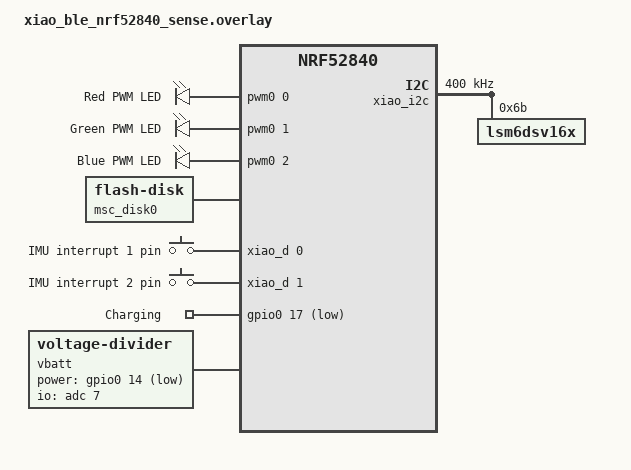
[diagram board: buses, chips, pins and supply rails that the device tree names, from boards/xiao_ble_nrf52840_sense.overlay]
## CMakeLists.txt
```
#-------------------------------------------------------------------------------
# Zephyr Example Application
#
# Copyright (c) 2021 Nordic Semiconductor ASA
# SPDX-License-Identifier: Apache-2.0

set(BOARD nicoco)
list(APPEND EXTRA_CONF_FILE "overlay_usb_mass_storage.conf overlay_smp_bt.conf")

include(secrets.cmake OPTIONAL)
if("${EI_API_KEY_HEADER}" MATCHES "^x-api-key:ei_[0-9a-fA-F]+$") # Cannot specify [0-9a-fA-F]{64} because of CMake regex limitations
    message(VERBOSE "Edge Impulse API key is set")
    list(APPEND EXTRA_CONF_FILE "overlay_edge_impulse.conf")
else()
    message(WARNING "Edge Impulse API key is not set")
endif()

cmake_minimum_required(VERSION 3.13.1)
find_package(Zephyr REQUIRED HINTS $ENV{ZEPHYR_BASE})

project(app LANGUAGES C)

target_include_directories(app PRIVATE src)

add_subdirectory_ifdef(CONFIG_USB_MASS_STORAGE src/usb_mass_storage)
add_subdirectory(src/state_machine)
add_subdirectory(src/emulator)
add_subdirectory(src/battery)
add_subdirectory_ifdef(CONFIG_EDGE_IMPULSE src/edge-impulse)
add_subdirectory(src/ui)

target_sources(app PRIVATE src/main.c)
```

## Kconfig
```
# Copyright (c) 2021 Nordic Semiconductor ASA
# SPDX-License-Identifier: Apache-2.0
#
# This file is the application Kconfig entry point. All application Kconfig
# options can be defined here or included via other application Kconfig files.
# You can browse these options using the west targets menuconfig (terminal) or
# guiconfig (GUI).

menu "Zephyr"
source "Kconfig.zephyr"
endmenu

module = APP
module-str = APP
source "subsys/logging/Kconfig.template.log_config"

config IDLE_STATE_TIMEOUT
	int "Time before SLEEP event in seconds."
	default 60

config CHECK_SESSION_DATA_DURING
	bool "Check that session data is correctly written during recording"
	default y

config CHECK_SESSION_DATA_AFTER
	bool "Check that session data is not corrupted at the end of a session"
	default y
```

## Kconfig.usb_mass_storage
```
config XIAO_BLE_USB_MASS_STORAGE
	bool "Support for Xiao BLE USB Mass Storage library"
	help
	  This option enables the Xiao BLE USB Mass Storage library

if XIAO_BLE_USB_MASS_STORAGE

config USB_DEVICE_STACK
	default y

config USB_DEVICE_PRODUCT
	default "Xiao BLE USB Mass Storage"

config USB_DEVICE_PID
	default 0x0008

config USB_MASS_STORAGE
	default y

config USB_DEVICE_INITIALIZE_AT_BOOT
	default n

config DISK_DRIVER_FLASH
	default y

config FILE_SYSTEM
	default y

config FAT_FILESYSTEM_ELM
	default y

config FLASH_MAP
	default y

config FLASH_PAGE_LAYOUT
	default y

config MASS_STORAGE_DISK_NAME
	default "NAND"

config NORDIC_QSPI_NOR
	default y

config NORDIC_QSPI_NOR_FLASH_LAYOUT_PAGE_SIZE
	default 4096

endif # XIAO_BLE_SHELL
```

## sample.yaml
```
# This file is provided so that the application can be compiled using Twister,
# the Zephyr testing tool. In this file, multiple combinations can be specified,
# so that you can easily test all of them locally or in CI.
sample:
  description: Example application
  name: example-application
common:
  sysbuild: true
  build_only: true
  integration_platforms:
    - nicoco
tests:
  app.default: {}
  app.debug:
    extra_overlay_confs:
      - debug.conf
```

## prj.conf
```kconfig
# Copyright (c) 2021 Nordic Semiconductor ASA
# SPDX-License-Identifier: Apache-2.0
#
# This file contains selected Kconfig options for the application.
CONFIG_NCS_BOOT_BANNER=n
CONFIG_BOOT_BANNER=n

CONFIG_STDOUT_CONSOLE=y

CONFIG_MAIN_STACK_SIZE=4096
CONFIG_SYSTEM_WORKQUEUE_STACK_SIZE=8192

CONFIG_XIAO_BLE_SHELL=y
CONFIG_CBPRINTF_NANO=y
# Other shell variables
CONFIG_FILE_SYSTEM_SHELL=y
CONFIG_HEAP_MEM_POOL_SIZE=2048
CONFIG_SHELL_STACK_SIZE=4096
CONFIG_FLASH_SHELL=y

# LSM6DSV16BX sensor library
CONFIG_LSM6DSV16BX=y
CONFIG_LSM6DSV16BX_FSM_USE_ALG_1=y
CONFIG_LSM6DSV16BX_FSM_ALG_1_CONFIG_FILE_PATH="fsm/lsm6dsv16x_fsm_long_touch.h"
CONFIG_LSM6DSV16BX_FSM_ALG_1_NAME="Long Touch Detection"

CONFIG_XIAO_SMP_BLUETOOTH=y
CONFIG_BT_DEVICE_NAME="Surfing Xiao"

# Config for enabling newlib C
CONFIG_FPU=y
CONFIG_CBPRINTF_COMPLETE=y
CONFIG_CBPRINTF_FP_SUPPORT=y

CONFIG_EVENTS=y
CONFIG_SMF=y

# enable ADC
CONFIG_ADC=y

# Enable PWM LEDs
CONFIG_PWM=y
```

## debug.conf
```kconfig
# Copyright (c) 2021 Nordic Semiconductor ASA
# SPDX-License-Identifier: Apache-2.0
#
# This is a Kconfig fragment which can be used to enable debug-related options
# in the application. See the README for more details.

# compiler
CONFIG_DEBUG_OPTIMIZATIONS=y

# logging
CONFIG_LOG=y
CONFIG_LOG_BUFFER_SIZE=4096
# Enables printk to be printed separately from Logs (for the Edge Impulse data forwarder).
CONFIG_LOG_PRINTK=n

CONFIG_APP_LOG_LEVEL_DBG=y

CONFIG_LSM6DSV16BX_LOG_LEVEL_DBG=y

CONFIG_XIAO_SMP_BLUETOOTH_LOG_LEVEL_DBG=y

CONFIG_USB_DRIVER_LOG_LEVEL_ERR=y
CONFIG_USB_DEVICE_LOG_LEVEL_ERR=y
CONFIG_USB_MASS_STORAGE_LOG_LEVEL_ERR=y
CONFIG_FLASH_LOG_LEVEL_ERR=y
CONFIG_FLASHDISK_LOG_LEVEL_OFF=y

CONFIG_FIT_SDK_LOG_LEVEL_DBG=y
```

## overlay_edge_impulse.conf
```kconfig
# Enable Edge Impulse dependencies
CONFIG_CPP=y
CONFIG_STD_CPP11=y
CONFIG_FP16=n
# Enable Edge Impulse
CONFIG_EDGE_IMPULSE=y
CONFIG_EDGE_IMPULSE_URI="https://studio.edgeimpulse.com/v1/api/545950/deployment/download?type=zip"
CONFIG_EI_WRAPPER=y
```

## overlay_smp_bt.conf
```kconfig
# Enable MCUmgr and dependencies.
CONFIG_NET_BUF=y
CONFIG_ZCBOR=y
CONFIG_CRC=y
CONFIG_MCUMGR=y
CONFIG_STREAM_FLASH=y
CONFIG_FLASH_MAP=y

# Enable MCUmgr groups
CONFIG_MCUMGR_GRP_OS=y
CONFIG_SHELL_BACKEND_DUMMY=y
CONFIG_MCUMGR_GRP_SHELL=y

# Enable Bluetooth
CONFIG_BT=y
CONFIG_BT_PERIPHERAL=y

# Allow for large Bluetooth data packets.
CONFIG_BT_L2CAP_TX_MTU=498
CONFIG_BT_BUF_ACL_RX_SIZE=502
CONFIG_BT_BUF_ACL_TX_SIZE=502
CONFIG_BT_CTLR_DATA_LENGTH_MAX=251

# Enable the Bluetooth mcumgr transport (unauthenticated).
CONFIG_MCUMGR_TRANSPORT_BT=y
CONFIG_MCUMGR_TRANSPORT_BT_PERM_RW=y
CONFIG_MCUMGR_TRANSPORT_BT_CONN_PARAM_CONTROL=y

# Enable the Shell mcumgr transport.
CONFIG_BASE64=y
CONFIG_CRC=y
CONFIG_SHELL=y
CONFIG_SHELL_BACKEND_SERIAL=y
CONFIG_MCUMGR_TRANSPORT_SHELL=y

# Enable the mcumgr Packet Reassembly feature over Bluetooth and its configuration dependencies.
# MCUmgr buffer size is optimized to fit one SMP packet divided into five Bluetooth Write Commands,
# transmitted with the maximum possible MTU value: 498 bytes.
CONFIG_MCUMGR_TRANSPORT_BT_REASSEMBLY=y
CONFIG_MCUMGR_TRANSPORT_NETBUF_SIZE=2475
CONFIG_MCUMGR_GRP_OS_MCUMGR_PARAMS=y
CONFIG_MCUMGR_TRANSPORT_WORKQUEUE_STACK_SIZE=4608

# Enable the LittleFS file system.
CONFIG_FILE_SYSTEM=y

# Enable file system commands
CONFIG_MCUMGR_GRP_FS=y

# Enable the storage erase command.
CONFIG_MCUMGR_GRP_ZBASIC=y
CONFIG_MCUMGR_GRP_ZBASIC_STORAGE_ERASE=y

# Disable Bluetooth ping support
CONFIG_BT_CTLR_LE_PING=n
```

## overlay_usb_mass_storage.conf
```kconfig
# USB related configs
CONFIG_USB_DEVICE_STACK=y
CONFIG_USB_DEVICE_PRODUCT="Xiao BLE USB Mass Storage"
CONFIG_USB_DEVICE_PID=0x0008
CONFIG_USB_MASS_STORAGE=y
CONFIG_MASS_STORAGE_DISK_NAME="NAND"
CONFIG_USB_DEVICE_INITIALIZE_AT_BOOT=n
# Flash disk related configs
CONFIG_DISK_DRIVER_FLASH=y
CONFIG_FILE_SYSTEM=y
CONFIG_FAT_FILESYSTEM_ELM=y
CONFIG_FS_FATFS_LFN=y
CONFIG_FLASH_MAP=y
CONFIG_FLASH_PAGE_LAYOUT=y
CONFIG_NORDIC_QSPI_NOR=y
CONFIG_NORDIC_QSPI_NOR_FLASH_LAYOUT_PAGE_SIZE=4096

CONFIG_FIT_SDK=y
```

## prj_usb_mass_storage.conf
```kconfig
# USB related configs
CONFIG_USB_DEVICE_STACK=y
CONFIG_USB_DEVICE_PRODUCT="Xiao BLE USB Mass Storage"
CONFIG_USB_DEVICE_PID=0x0008
CONFIG_USB_MASS_STORAGE=y
CONFIG_MASS_STORAGE_DISK_NAME="NAND"
CONFIG_USB_DEVICE_INITIALIZE_AT_BOOT=n
# Flash disk related configs
CONFIG_DISK_DRIVER_FLASH=y
CONFIG_FILE_SYSTEM=y
CONFIG_FAT_FILESYSTEM_ELM=y
CONFIG_FLASH_MAP=y
CONFIG_FLASH_PAGE_LAYOUT=y
CONFIG_NORDIC_QSPI_NOR=y
CONFIG_NORDIC_QSPI_NOR_FLASH_LAYOUT_PAGE_SIZE=4096

# Log related configs
CONFIG_USB_DRIVER_LOG_LEVEL_ERR=y
CONFIG_USB_DEVICE_LOG_LEVEL_ERR=y
CONFIG_USB_MASS_STORAGE_LOG_LEVEL_ERR=y
CONFIG_FLASH_LOG_LEVEL_ERR=y
```

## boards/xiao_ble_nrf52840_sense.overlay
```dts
&p25q16h {
	partitions {
		compatible = "fixed-partitions";
		#address-cells = <1>;
		#size-cells = <1>;

		data_partition: partition@0 {
			label = "data";
			reg = <0x00000000 0x00200000>;
		};
	};
};

/ {
	chosen {
		nordic,pm-ext-flash = &p25q16h;
		zephyr,console = &uart0;
		zephyr,shell-uart = &uart0;
	};

	pwmleds {
		compatible = "pwm-leds";
		pwm_led0: pwm_led_0 {
			pwms = <&pwm0 0 PWM_MSEC(20) PWM_POLARITY_INVERTED>;
			label = "Red PWM LED";
		};
		pwm_led1: pwm_led_1 {
            pwms = <&pwm0 1 PWM_MSEC(20) PWM_POLARITY_INVERTED>;
			label = "Green PWM LED";
        };
        pwm_led2: pwm_led_2 {
            pwms = <&pwm0 2 PWM_MSEC(20) PWM_POLARITY_INVERTED>;
			label = "Blue PWM LED";
        };
	};

	msc_disk0 {
		compatible = "zephyr,flash-disk";
		partition = <&data_partition>;
		disk-name = "NAND";
		cache-size = <4096>;
	};

	gpin {
		compatible = "gpio-keys";

		imu_int1: imu_int1 {
			label = "IMU interrupt 1 pin";
			gpios = <&xiao_d 0 GPIO_ACTIVE_HIGH>;
		};

		imu_int2: imu_int2 {
			label = "IMU interrupt 2 pin";
			gpios = <&xiao_d 1 GPIO_ACTIVE_HIGH>;
		};

		charging: charging {
			gpios = <&gpio0 17 GPIO_ACTIVE_LOW>;
			label = "Charging";
		};
	};

	vbatt {
		compatible = "voltage-divider";
		io-channels = <&adc 7>;
		output-ohms = <510000>;
		full-ohms = <1510000>;
		power-gpios = <&gpio0 14 GPIO_ACTIVE_LOW>;
	};

	aliases {
		imu = &lsm6dsv16x;
		imuint1 = &imu_int1;
		imuint2 = &imu_int2;
		charging = &charging;
		pwm-led0 = &pwm_led0;
		pwm-led1 = &pwm_led1;
		pwm-led2 = &pwm_led2;
	};
};

&xiao_i2c {
	clock-frequency = <I2C_BITRATE_FAST>;
	lsm6dsv16x: lsm6dsv16x@6b {
		status = "okay";
		compatible = "zephyr,lsm6dsv16x";
		reg = <0x6b>;
	};
};
```

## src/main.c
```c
/*
 * Copyright (c) 2021 Nordic Semiconductor ASA
 * SPDX-License-Identifier: Apache-2.0
 */

#include <zephyr/kernel.h>
#include <zephyr/logging/log.h>
#if CONFIG_USB_MASS_STORAGE
#include <usb_mass_storage/usb_mass_storage.h>
#endif
#include <state_machine/state_machine.h>
#include <battery/battery.h>
#include <emulator/emulator.h>

#include <app_version.h>

#include <app/lib/lsm6dsv16bx.h>
#include <app/lib/lsm6dsv16bx_fsm_config.h> // Include FSM configuration files
#include <app/lib/xiao_smp_bluetooth.h>
#include <app/lib/xiao_ble_shell.h>

#if defined(CONFIG_EDGE_IMPULSE)
#include <edge-impulse/impulse.h>
#endif

#include <ui/ui.h>

LOG_MODULE_REGISTER(main, CONFIG_APP_LOG_LEVEL);

bool uf2_check(){
	/* Add a check to see if the device is inside the enclosure.
	 * Not really necessary as it will reboot if not connected on USB, but still.
	 */
	return true;
}

bool ota_check(){
	return !battery_is_charging();
}

bool serial_check(){
	/* Add a check to see if the device is inside the enclosure.
	 * Not really necessary as it will reboot if not connected on USB, but still.
	 */
	return true;
}

xiao_ble_shell_cd_t shell_checks = {
	.adafruit_bootloader_uf2_check = uf2_check,
	.adafruit_bootloader_ota_check = ota_check,
	.adafruit_bootloader_serial_check = serial_check,
};

struct line {
	float_t acc_x;
	float_t acc_y;
	float_t acc_z;
	bool acc_updated;
	float_t gyro_x;
	float_t gyro_y;
	float_t gyro_z;
	bool gyro_updated;
	float_t ts;
	bool ts_updated;
	float_t qvar;
	bool qvar_updated;
	float_t gbias_x;
	float_t gbias_y;
	float_t gbias_z;
	bool gbias_updated;
	float_t gravity_x;
	float_t gravity_y;
	float_t gravity_z;
	bool gravity_updated;
	float_t game_rot_x;
	float_t game_rot_y;
	float_t game_rot_z;
	float_t game_rot_w;
	bool game_rot_updated;
};

static struct line l = {
	.acc_updated = false,
	.gyro_updated = false,
	.ts_updated = false,
	.qvar_updated = false,
	.gbias_updated = false,
	.gravity_updated = false,
	.game_rot_updated = false,
};

#define TXT_SIZE 200

static void print_line_if_needed(){
	char txt[TXT_SIZE];
	char tmp_txt[TXT_SIZE];
	char data_forwarded[TXT_SIZE];
	float_t ei_input_data[3];

	bool b = l.acc_updated && l.gyro_updated && l.ts_updated;
	xiao_recording_state_t recording_state = state_machine_get_recording_state();
	if (recording_state.sflp_enabled) {
		b = b && l.game_rot_updated && l.gravity_updated;
	}
	if (recording_state.qvar_enabled) {
		b = b && l.qvar_updated;
	}

	if (b) {
		l.acc_updated = false;
		l.gyro_updated = false;
		l.ts_updated = false;
		l.qvar_updated = false;
		l.game_rot_updated = false;
		l.gravity_updated = false;
		ei_input_data[0] = l.acc_x;
		ei_input_data[1] = l.acc_y;
		ei_input_data[2] = l.acc_z;

		int res;
		if (!recording_state.emulation_enabled) // Only save to flash memory if emulation is not enabled.
		{
			res = snprintf(txt, TXT_SIZE, "%.3f,%.0f,%.0f,%.0f,%.0f,%.0f,%.0f", (double)l.ts, (double)l.acc_x, (double)l.acc_y, (double)l.acc_z, (double)l.gyro_x, (double)l.gyro_y, (double)l.gyro_z);
			if (res < 0 || res >= TXT_SIZE) {
				LOG_ERR("Encoding error happened (%i)", res);
			}

			if (recording_state.sflp_enabled) {
				memset(tmp_txt, 0, TXT_SIZE);
				memcpy(tmp_txt, txt, strlen(txt));
				res = snprintf(txt, TXT_SIZE, "%s,%.0f,%.0f,%.0f,%.0f,%.0f,%.0f,%.0f", tmp_txt, (double)l.game_rot_x, (double)l.game_rot_y, (double)l.game_rot_z, (double)l.game_rot_w, (double)l.gravity_x, (double)l.gravity_y, (double)l.gravity_z);
				if (res < 0 || res >= TXT_SIZE) {
					LOG_ERR("Encoding error happened (%i)", res);
				}
			}
			if (recording_state.qvar_enabled) {
				memset(tmp_txt, 0, TXT_SIZE);
				memcpy(tmp_txt, txt, strlen(txt));
				res = snprintf(txt, TXT_SIZE, "%s,%.0f", tmp_txt, (double)l.qvar);
				if (res < 0 || res >= TXT_SIZE) {
					LOG_ERR("Encoding error happened (%i)", res);
				}
			}
			memset(tmp_txt, 0, TXT_SIZE);
			memcpy(tmp_txt, txt, strlen(txt));
			res = snprintf(txt, TXT_SIZE, "%s\n", tmp_txt);

			if (res < 0 || res >= TXT_SIZE) {
				LOG_ERR("Encoding error happened (%i)", res);
			} else {
				res = usb_mass_storage_write_to_current_session(txt, strlen(txt));
				if (res < 0) {
					LOG_ERR("Unable to write to session file, ending session");
					state_machine_post_event(XIAO_EVENT_STOP_RECORDING);
				}
			}
		}

		if (recording_state.data_forwarder_enabled)
		{
			res = snprintf(data_forwarded, TXT_SIZE, "%.0f,%.0f,%.0f,%.0f,%.0f,%.0f", (double)l.acc_x, (double)l.acc_y, (double)l.acc_z, (double)l.gyro_x, (double)l.gyro_y, (double)l.gyro_z);
			if (res < 0 || res >= TXT_SIZE) {
				LOG_ERR("Encoding error happened for data forwarder (%i)", res);
			}
			if (recording_state.sflp_enabled)
			{
				memset(tmp_txt, 0, TXT_SIZE);
				memcpy(tmp_txt, data_forwarded, strlen(data_forwarded));
				res = snprintf(data_forwarded, TXT_SIZE, "%s,%.0f,%.0f,%.0f,%.0f,%.0f,%.0f,%.0f", tmp_txt, (double)l.game_rot_x, (double)l.game_rot_y, (double)l.game_rot_z, (double)l.game_rot_w, (double)l.gravity_x, (double)l.gravity_y, (double)l.gravity_z);
				if (res < 0 || res >= TXT_SIZE) {
					LOG_ERR("Encoding error happened for data forwarder (sflp) (%i)", res);
				}
			}
			if (recording_state.qvar_enabled)
			{
				memset(tmp_txt, 0, TXT_SIZE);
				memcpy(tmp_txt, data_forwarded, strlen(data_forwarded));
				res = snprintf(data_forwarded, TXT_SIZE, "%s,%.0f", tmp_txt, (double)l.qvar);
				if (res < 0 || res >= TXT_SIZE) {
					LOG_ERR("Encoding error happened for data forwarder (qvar) (%i)", res);
				}
			}
			memset(tmp_txt, 0, TXT_SIZE);
			memcpy(tmp_txt, data_forwarded, strlen(data_forwarded));
			res = snprintf(data_forwarded, TXT_SIZE, "%s\n", tmp_txt);
			if (res < 0 || res >= TXT_SIZE) {
				LOG_ERR("Encoding error happened for data forwarder (newline) (%i)", res);
			}

			printk("%s", data_forwarded);
		}

#ifdef CONFIG_EDGE_IMPULSE
		if (recording_state.edge_impulse_enabled)
		{
			impulse_add_data(ei_input_data, 3);
		}
#endif
	}
}

static void acc_received_cb(float_t x, float_t y, float_t z)
{
	l.acc_x = x;
	l.acc_y = y;
	l.acc_z = z;
	l.acc_updated = true;

	print_line_if_needed();
	return;
}

static void gyro_received_cb(float_t x, float_t y, float_t z)
{
	l.gyro_x = x;
	l.gyro_y = y;
	l.gyro_z = z;
	l.gyro_updated = true;

	print_line_if_needed();
	return;
}

static void qvar_received_cb(float_t qvar_data)
{
	l.qvar = qvar_data;
	l.qvar_updated = true;

	print_line_if_needed();
	return;
}

static void ts_received_cb(float_t ts)
{
	l.ts = ts / 1000000; // Convert ns to ms.
	l.ts_updated = true;

	print_line_if_needed();
	return;
}

static void gbias_received_cb(float_t x, float_t y, float_t z)
{
	l.gbias_x = x;
	l.gbias_y = y;
	l.gbias_z = z;
	l.gbias_updated = true;

	print_line_if_needed();
}

static void gravity_received_cb(float_t x, float_t y, float_t z)
{
	l.gravity_x = x;
	l.gravity_y = y;
	l.gravity_z = z;
	l.gravity_updated = true;

	print_line_if_needed();
}

static void game_rot_received_cb(float_t x, float_t y, float_t z, float_t w)
{
	l.game_rot_x = 1000.0f * x;
	l.game_rot_y = 1000.0f * y;
	l.game_rot_z = 1000.0f * z;
	l.game_rot_w = 1000.0f * w;
	l.game_rot_updated = true;

	print_line_if_needed();
}

static void calib_res_cb(int result, float_t x, float_t y, float_t z)
{
	if (result)
	{
		char txt[CALIBRATION_FILE_SIZE + 1]; // Leave room for a terminating NULL character.
		int cnt = snprintf(txt, CALIBRATION_FILE_SIZE + 1, "x:%+07.2f\ny:%+07.2f\nz:%+07.2f", (double)x, (double)y, (double)z);
		if (cnt != CALIBRATION_FILE_SIZE) {
			LOG_ERR("Calibration file data is not the correct length! Expected %u, got %i", CALIBRATION_FILE_SIZE, cnt);
		}
		LOG_INF("Calibration succeeded. Gbias: x:%+07.2f y:%+07.2f z:%+07.2f", (double)x, (double)y, (double)z);
		int res = usb_mass_storage_create_file(NULL, CALIBRATION_FILE_NAME, usb_mass_storage_get_calibration_file_p(), true);
		if (res != 0)
		{
			LOG_ERR("Error creating calibration file (%i)", res);
		} else {
			res = usb_mass_storage_write_to_file(txt, strlen(txt), usb_mass_storage_get_calibration_file_p(), true);
			if (res)
			{
				LOG_ERR("Failed to write to cal file (%i)", res);
			}
			res = usb_mass_storage_close_file(usb_mass_storage_get_calibration_file_p());
			if (res)
			{
				LOG_ERR("Failed to close cal file (%i)", res);
			}
		}

		lsm6dsv16bx_set_gbias(x, y, z);

	} else {
		LOG_ERR("Calibration timeout!");
	}

	state_machine_post_event(XIAO_EVENT_STOP_CALIBRATION);
}

static void sig_mot_cb()
{
	LOG_DBG("Significant Motion detected!");
	state_machine_post_event(XIAO_EVENT_WAKE_UP);
}

static int fsm_long_touch_pre_cfg(stmdev_ctx_t ctx)
{
	lsm6dsv16bx_ah_qvar_mode_t qvar_mode;

	/* Enable QVar now because it is not enabled by Unico configuration */
	qvar_mode.ah_qvar1_en = 1;
	int ret = lsm6dsv16bx_ah_qvar_mode_set(&ctx, qvar_mode);
	if (ret) {
		LOG_ERR("lsm6dsv16bx_ah_qvar_mode_set (%i)", ret);
		return ret;
	}

	return 0;
}

static void fsm_long_touch_cb(uint8_t state)
{
	LOG_WRN("FSM Long Touch callback called! State: %u", state);
	if (state) {
		state_machine_post_event(XIAO_EVENT_WAKE_UP);
	}
	return;
}

static void on_connection_success() {
	LOG_DBG("Connected");
	ui_rgb_t current_color = ui_get_rgb();
	ui_set_rgb_on(/*Red*/0, /*Green*/0, /*Blue*/UI_COLOR_MAX, /*Blink (%)*/current_color.blink, /*Duration (s)*/current_color.duration);
}

static void on_connection_fail(uint8_t err) {
	LOG_ERR("Connection failed (err 0x%02x)", err);
}

static void on_disconnection(uint8_t reason) {
	LOG_INF("Disconnected (reason 0x%02x)", reason);
	ui_rgb_t current_color = ui_get_rgb();
	ui_set_rgb_on(/*Red*/ 0, /*Green*/ UI_COLOR_MAX, /*Blue*/ 0, /*Blink (%)*/ current_color.blink, /*Duration (s)*/ current_color.duration);
}

int main(void)
{
	int ret;

#if defined(CONFIG_XIAO_BLE_SHELL)
	xiao_ble_shell_init(shell_checks);
#endif

	battery_init();

	LOG_INF("Xiao LSM6DSV16X Evaluation %s", APP_VERSION_STRING);

	lsm6dsv16bx_cb_t callbacks = {
		.lsm6dsv16bx_ts_sample_cb = ts_received_cb,
		.lsm6dsv16bx_acc_sample_cb = acc_received_cb,
		.lsm6dsv16bx_gyro_sample_cb = gyro_received_cb,
		.lsm6dsv16bx_qvar_sample_cb = qvar_received_cb,
		.lsm6dsv16bx_gbias_sample_cb = gbias_received_cb,
		.lsm6dsv16bx_gravity_sample_cb = gravity_received_cb,
		.lsm6dsv16bx_game_rot_sample_cb = game_rot_received_cb,
		.lsm6dsv16bx_calibration_result_cb = calib_res_cb,
		.lsm6dsv16bx_sigmot_cb = sig_mot_cb,
		.lsm6dsv16bx_fsm_cbs = {fsm_long_touch_cb, NULL, NULL, NULL, NULL, NULL, NULL, NULL},
	};

	lsm6dsv16bx_fsm_cfg_t fsm_cfg = {
		.fsm_ucf_cfg = 		{fsm_long_touch, NULL, NULL, NULL, NULL, NULL, NULL, NULL },
		.fsm_ucf_cfg_size =	{sizeof(fsm_long_touch), 0, 0, 0, 0, 0, 0, 0},
		.fsm_pre_cfg_cbs = 	{fsm_long_touch_pre_cfg, NULL, NULL, NULL, NULL, NULL, NULL, NULL},
	};

	lsm6dsv16bx_init(callbacks, fsm_cfg);

	emulator_cb_t emulator_callbacks = {
		.emulator_ts_sample_cb = ts_received_cb,
		.emulator_acc_sample_cb = acc_received_cb,
		.emulator_gyro_sample_cb = gyro_received_cb,
		.emulator_gravity_sample_cb = gravity_received_cb,
		.emulator_game_rot_sample_cb = game_rot_received_cb,
	};

	emulator_init(emulator_callbacks);

	xiao_state_t starting_state = IDLE;

#if CONFIG_USB_MASS_STORAGE
	ret = usb_mass_storage_init();

	if (ret) {
		LOG_ERR("The device could not be put in USB mass storage mode.");
		return 0;
	}

	float x, y, z;
	ret = usb_mass_storage_check_calibration_file_contents(&x, &y, &z);
	if (ret == -ENOENT) {
		// No calibration file present, or it has the wrong size, trigger calibration.
		LOG_WRN("Correct calibration file not found, triggering calibration");
		starting_state = CALIBRATING;
	} else if (ret != 0) {
		// Something else went wrong when reading calibration file
		LOG_ERR("Failed to check calibration file (%i)", ret);
	} else {
		// Calibration file has been read properly.
		//LOG_DBG("x: %+3.2f - y: %+3.2f - z: %+3.2f", (double)x, (double)y, (double)z);
		lsm6dsv16bx_set_gbias(x, y, z);
	}

#endif

	xiao_smp_bluetooth_cb_t smp_callbacks = {
		.on_connection_success = on_connection_success,
		.on_connection_fail = on_connection_fail,
		.on_disconnection = on_disconnection,
	};

	smp_bluetooth_init(smp_callbacks);

#ifdef CONFIG_EDGE_IMPULSE
	impulse_init();
#endif

	ui_set_rgb_on(/*Red*/ 0, /*Green*/ UI_COLOR_MAX, /*Blue*/ 0, /*Blink (%)*/ 0, /*Duration (s)*/ 1);

	state_machine_init(starting_state);

#if defined(CONFIG_EDGE_IMPULSE)
	impulse_init();
#endif

	return state_machine_run();
}
```
